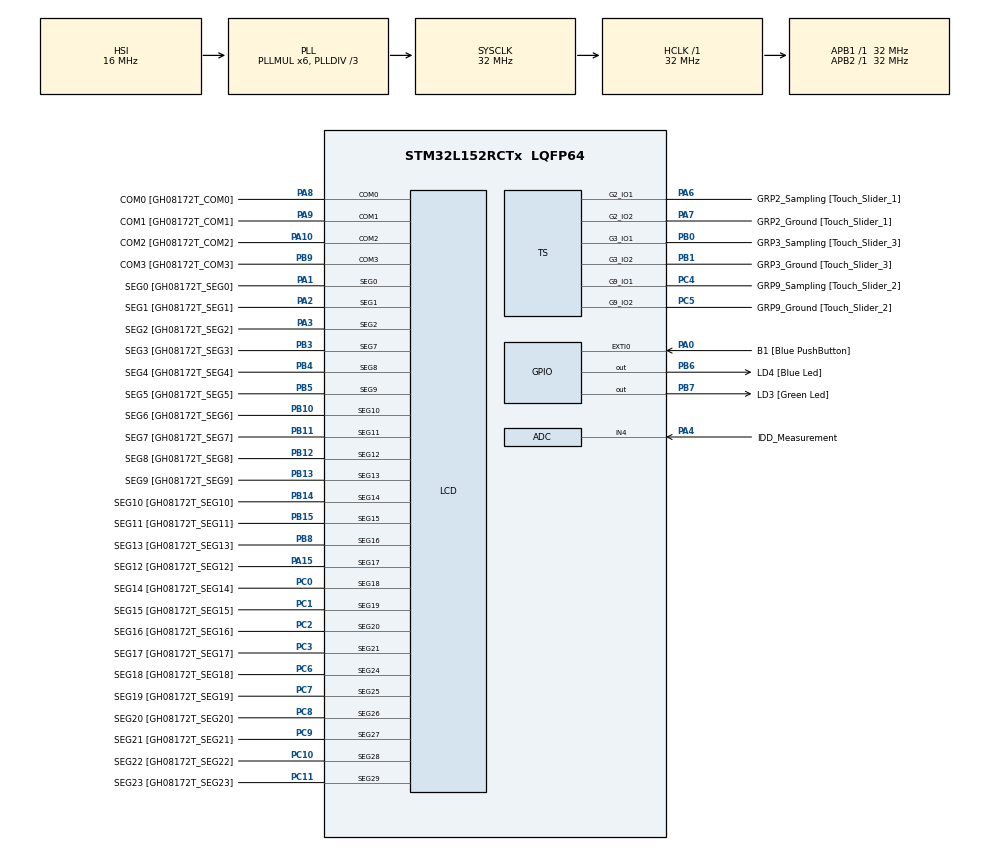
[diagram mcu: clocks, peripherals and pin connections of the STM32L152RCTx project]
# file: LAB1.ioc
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ADC.Channel=ADC_CHANNEL_4
ADC.Channel-0\#ChannelRegularConversion=ADC_CHANNEL_4
ADC.Channel-IN4=ADC_CHANNEL_4
ADC.ExternalTrigConv=ADC_EXTERNALTRIGCONV_T2_CC3
ADC.ExternalTrigConv-0\#ChannelRegularConversion=ADC_SOFTWARE_START
ADC.ExternalTrigConvEdge=ADC_EXTERNALTRIGCONVEDGE_RISING
ADC.Rank-0\#ChannelRegularConversion=1
ADC.SamplingTime-0\#ChannelRegularConversion=ADC_SAMPLETIME_4CYCLES
Mcu.Family=STM32L1
Mcu.Name=STM32L152RCTx
Mcu.Package=LQFP64
NVIC.PriorityGroup=NVIC_PRIORITYGROUP_0
PA0-WKUP1.GPIO_Label=B1 [Blue PushButton]
PA0-WKUP1.GPIO_ModeDefaultEXTI=GPIO_MODE_EVT_RISING
PA0-WKUP1.GPIO_PuPd=GPIO_NOPULL
PA0-WKUP1.Signal=GPXTI0
PA1.GPIO_Label=SEG0 [GH08172T_SEG0]
PA1.GPIO_Mode=GPIO_MODE_AF_PP
PA1.GPIO_PuPd=GPIO_NOPULL
PA1.GPIO_Speed=GPIO_SPEED_FREQ_LOW
PA1.Mode=SEG0
PA1.Signal=LCD_SEG0
PA10.GPIO_Label=COM2 [GH08172T_COM2]
PA10.GPIO_Mode=GPIO_MODE_AF_PP
PA10.GPIO_PuPd=GPIO_NOPULL
PA10.GPIO_Speed=GPIO_SPEED_FREQ_LOW
PA10.Mode=1/4 Duty Cycle
PA10.Signal=LCD_COM2
PA13.GPIO_Label=SWDIO
PA13.Mode=Serial_Wire
PA13.Signal=SYS_JTMS-SWDIO
PA14.GPIO_Label=SWCLK
PA14.Mode=Serial_Wire
PA14.Signal=SYS_JTCK-SWCLK
PA15.GPIO_Label=SEG12 [GH08172T_SEG12]
PA15.GPIO_Mode=GPIO_MODE_AF_PP
PA15.GPIO_PuPd=GPIO_NOPULL
PA15.GPIO_Speed=GPIO_SPEED_FREQ_LOW
PA15.Mode=SEG17
PA15.Signal=LCD_SEG17
PA2.GPIO_Label=SEG1 [GH08172T_SEG1]
PA2.GPIO_Mode=GPIO_MODE_AF_PP
PA2.GPIO_PuPd=GPIO_NOPULL
PA2.GPIO_Speed=GPIO_SPEED_FREQ_LOW
PA2.Mode=SEG1
PA2.Signal=LCD_SEG1
PA3.GPIO_Label=SEG2 [GH08172T_SEG2]
PA3.GPIO_Mode=GPIO_MODE_AF_PP
PA3.GPIO_PuPd=GPIO_NOPULL
PA3.GPIO_Speed=GPIO_SPEED_FREQ_LOW
PA3.Mode=SEG2
PA3.Signal=LCD_SEG2
PA4.GPIO_Label=IDD_Measurement
PA4.GPIO_Mode=GPIO_MODE_ANALOG
PA4.GPIO_PuPd=GPIO_NOPULL
PA4.Mode=IN4
PA4.Signal=ADC_IN4
PA6.GPIO_Label=GRP2_Sampling [Touch_Slider_1]
PA6.Mode=G2_IO1-Sampling
PA6.Signal=TS_G2_IO1
PA7.GPIO_Label=GRP2_Ground [Touch_Slider_1]
PA7.Mode=G2_IO2-Channel
PA7.Signal=TS_G2_IO2
PA8.GPIO_Label=COM0 [GH08172T_COM0]
PA8.GPIO_Mode=GPIO_MODE_AF_PP
PA8.GPIO_PuPd=GPIO_NOPULL
PA8.GPIO_Speed=GPIO_SPEED_FREQ_LOW
PA8.Mode=1/4 Duty Cycle
PA8.Signal=LCD_COM0
PA9.GPIO_Label=COM1 [GH08172T_COM1]
PA9.GPIO_Mode=GPIO_MODE_AF_PP
PA9.GPIO_PuPd=GPIO_NOPULL
PA9.GPIO_Speed=GPIO_SPEED_FREQ_LOW
PA9.Mode=1/4 Duty Cycle
PA9.Signal=LCD_COM1
PB0.GPIO_Label=GRP3_Sampling [Touch_Slider_3]
PB0.Mode=G3_IO1-Sampling
PB0.Signal=TS_G3_IO1
PB1.GPIO_Label=GRP3_Ground [Touch_Slider_3]
PB1.Mode=G3_IO2-Channel
PB1.Signal=TS_G3_IO2
PB10.GPIO_Label=SEG6 [GH08172T_SEG6]
PB10.GPIO_Mode=GPIO_MODE_AF_PP
PB10.GPIO_PuPd=GPIO_NOPULL
PB10.GPIO_Speed=GPIO_SPEED_FREQ_LOW
PB10.Mode=SEG10
PB10.Signal=LCD_SEG10
PB11.GPIO_Label=SEG7 [GH08172T_SEG7]
PB11.GPIO_Mode=GPIO_MODE_AF_PP
PB11.GPIO_PuPd=GPIO_NOPULL
PB11.GPIO_Speed=GPIO_SPEED_FREQ_LOW
PB11.Mode=SEG11
PB11.Signal=LCD_SEG11
PB12.GPIO_Label=SEG8 [GH08172T_SEG8]
PB12.GPIO_Mode=GPIO_MODE_AF_PP
PB12.GPIO_PuPd=GPIO_NOPULL
PB12.GPIO_Speed=GPIO_SPEED_FREQ_LOW
PB12.Mode=SEG12
PB12.Signal=LCD_SEG12
PB13.GPIO_Label=SEG9 [GH08172T_SEG9]
PB13.GPIO_Mode=GPIO_MODE_AF_PP
PB13.GPIO_PuPd=GPIO_NOPULL
PB13.GPIO_Speed=GPIO_SPEED_FREQ_LOW
PB13.Mode=SEG13
PB13.Signal=LCD_SEG13
PB14.GPIO_Label=SEG10 [GH08172T_SEG10]
PB14.GPIO_Mode=GPIO_MODE_AF_PP
PB14.GPIO_PuPd=GPIO_NOPULL
PB14.GPIO_Speed=GPIO_SPEED_FREQ_LOW
PB14.Mode=SEG14
PB14.Signal=LCD_SEG14
PB15.GPIO_Label=SEG11 [GH08172T_SEG11]
PB15.GPIO_Mode=GPIO_MODE_AF_PP
PB15.GPIO_PuPd=GPIO_NOPULL
PB15.GPIO_Speed=GPIO_SPEED_FREQ_LOW
PB15.Mode=SEG15
PB15.Signal=LCD_SEG15
PB3.GPIO_Label=SEG3 [GH08172T_SEG3]
PB3.GPIO_Mode=GPIO_MODE_AF_PP
PB3.GPIO_PuPd=GPIO_NOPULL
PB3.GPIO_Speed=GPIO_SPEED_FREQ_LOW
PB3.Mode=SEG7
PB3.Signal=LCD_SEG7
PB4.GPIO_Label=SEG4 [GH08172T_SEG4]
PB4.GPIO_Mode=GPIO_MODE_AF_PP
PB4.GPIO_PuPd=GPIO_NOPULL
PB4.GPIO_Speed=GPIO_SPEED_FREQ_LOW
PB4.Mode=SEG8
PB4.Signal=LCD_SEG8
PB5.GPIO_Label=SEG5 [GH08172T_SEG5]
PB5.GPIO_Mode=GPIO_MODE_AF_PP
PB5.GPIO_PuPd=GPIO_NOPULL
PB5.GPIO_Speed=GPIO_SPEED_FREQ_LOW
PB5.Mode=SEG9
PB5.Signal=LCD_SEG9
PB6.GPIO_Label=LD4 [Blue Led]
PB6.GPIO_ModeDefaultOutputPP=GPIO_MODE_OUTPUT_PP
PB6.GPIO_PuPd=GPIO_NOPULL
PB6.GPIO_Speed=GPIO_SPEED_FREQ_LOW
PB6.Signal=GPIO_Output
PB7.GPIO_Label=LD3 [Green Led]
PB7.GPIO_ModeDefaultOutputPP=GPIO_MODE_OUTPUT_PP
PB7.GPIO_PuPd=GPIO_NOPULL
PB7.GPIO_Speed=GPIO_SPEED_FREQ_LOW
PB7.Signal=GPIO_Output
PB8.GPIO_Label=SEG13 [GH08172T_SEG13]
PB8.GPIO_Mode=GPIO_MODE_AF_PP
PB8.GPIO_PuPd=GPIO_NOPULL
PB8.GPIO_Speed=GPIO_SPEED_FREQ_LOW
PB8.Mode=SEG16
PB8.Signal=LCD_SEG16
PB9.GPIO_Label=COM3 [GH08172T_COM3]
PB9.GPIO_Mode=GPIO_MODE_AF_PP
PB9.GPIO_PuPd=GPIO_NOPULL
PB9.GPIO_Speed=GPIO_SPEED_FREQ_LOW
PB9.Mode=1/4 Duty Cycle
PB9.Signal=LCD_COM3
PC0.GPIO_Label=SEG14 [GH08172T_SEG14]
PC0.GPIO_Mode=GPIO_MODE_AF_PP
PC0.GPIO_PuPd=GPIO_NOPULL
PC0.GPIO_Speed=GPIO_SPEED_FREQ_LOW
PC0.Mode=SEG18
PC0.Signal=LCD_SEG18
PC1.GPIO_Label=SEG15 [GH08172T_SEG15]
PC1.GPIO_Mode=GPIO_MODE_AF_PP
PC1.GPIO_PuPd=GPIO_NOPULL
PC1.GPIO_Speed=GPIO_SPEED_FREQ_LOW
PC1.Mode=SEG19
PC1.Signal=LCD_SEG19
PC10.GPIO_Label=SEG22 [GH08172T_SEG22]
PC10.GPIO_Mode=GPIO_MODE_AF_PP
PC10.GPIO_PuPd=GPIO_NOPULL
PC10.GPIO_Speed=GPIO_SPEED_FREQ_LOW
PC10.Mode=SEG28
PC10.Signal=LCD_SEG28
PC11.GPIO_Label=SEG23 [GH08172T_SEG23]
PC11.GPIO_Mode=GPIO_MODE_AF_PP
PC11.GPIO_PuPd=GPIO_NOPULL
PC11.GPIO_Speed=GPIO_SPEED_FREQ_LOW
PC11.Mode=SEG29
PC11.Signal=LCD_SEG29
PC14-OSC32_IN.GPIO_Label=PC14-OSC32_IN
PC14-OSC32_IN.Mode=LSE-External-Oscillator
PC14-OSC32_IN.Signal=RCC_OSC32_IN
PC15-OSC32_OUT.GPIO_Label=PC15-OSC32_OUT
PC15-OSC32_OUT.Mode=LSE-External-Oscillator
PC15-OSC32_OUT.Signal=RCC_OSC32_OUT
PC2.GPIO_Label=SEG16 [GH08172T_SEG16]
PC2.GPIO_Mode=GPIO_MODE_AF_PP
PC2.GPIO_PuPd=GPIO_NOPULL
PC2.GPIO_Speed=GPIO_SPEED_FREQ_LOW
PC2.Mode=SEG20
PC2.Signal=LCD_SEG20
PC3.GPIO_Label=SEG17 [GH08172T_SEG17]
PC3.GPIO_Mode=GPIO_MODE_AF_PP
PC3.GPIO_PuPd=GPIO_NOPULL
PC3.GPIO_Speed=GPIO_SPEED_FREQ_LOW
PC3.Mode=SEG21
PC3.Signal=LCD_SEG21
PC4.GPIO_Label=GRP9_Sampling [Touch_Slider_2]
PC4.Mode=G9_IO1-Sampling
PC4.Signal=TS_G9_IO1
PC5.GPIO_Label=GRP9_Ground [Touch_Slider_2]
PC5.Mode=G9_IO2-Channel
PC5.Signal=TS_G9_IO2
PC6.GPIO_Label=SEG18 [GH08172T_SEG18]
PC6.GPIO_Mode=GPIO_MODE_AF_PP
PC6.GPIO_PuPd=GPIO_NOPULL
PC6.GPIO_Speed=GPIO_SPEED_FREQ_LOW
PC6.Mode=SEG24
PC6.Signal=LCD_SEG24
PC7.GPIO_Label=SEG19 [GH08172T_SEG19]
PC7.GPIO_Mode=GPIO_MODE_AF_PP
PC7.GPIO_PuPd=GPIO_NOPULL
PC7.GPIO_Speed=GPIO_SPEED_FREQ_LOW
PC7.Mode=SEG25
PC7.Signal=LCD_SEG25
PC8.GPIO_Label=SEG20 [GH08172T_SEG20]
PC8.GPIO_Mode=GPIO_MODE_AF_PP
PC8.GPIO_PuPd=GPIO_NOPULL
PC8.GPIO_Speed=GPIO_SPEED_FREQ_LOW
PC8.Mode=SEG26
PC8.Signal=LCD_SEG26
PC9.GPIO_Label=SEG21 [GH08172T_SEG21]
PC9.GPIO_Mode=GPIO_MODE_AF_PP
PC9.GPIO_PuPd=GPIO_NOPULL
PC9.GPIO_Speed=GPIO_SPEED_FREQ_LOW
PC9.Mode=SEG27
PC9.Signal=LCD_SEG27
ProjectManager.HeapSize=0x200
ProjectManager.StackSize=0x400
ProjectManager.TargetToolchain=STM32CubeIDE
RCC.48MHZClocksFreq_Value=48000000
RCC.AHBFreq_Value=32000000
RCC.APB1Freq_Value=32000000
RCC.APB1TimFreq_Value=32000000
RCC.APB2Freq_Value=32000000
RCC.APB2TimFreq_Value=32000000
RCC.HCLKFreq_Value=32000000
RCC.HSE_VALUE=8000000
RCC.HSI_VALUE=16000000
RCC.MSI_VALUE=2097000
RCC.PLLDIV=RCC_PLL_DIV3
RCC.PLLMUL=RCC_PLL_MUL6
RCC.RTCClockSelectionVirtual=RCC_RTCCLKSOURCE_LSE
RCC.SYSCLKFreq_VALUE=32000000
RCC.SYSCLKSource=RCC_SYSCLKSOURCE_PLLCLK
RCC.USBOutput=48000000
RCC.VCOOutputFreq_Value=96000000
VP_TIM4_VS_ClockSourceINT.Mode=Internal
board=STM32L152C-DISCO

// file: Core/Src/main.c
/* USER CODE BEGIN Header */
/**
  ******************************************************************************
  * @file           : main.c
  * @brief          : Main program body
  ******************************************************************************
  * @attention
  *
  * Copyright (c) 2024 STMicroelectronics.
  * All rights reserved.
  *
  * This software is licensed under terms that can be found in the LICENSE file
  * in the root directory of this software component.
  * If no LICENSE file comes with this software, it is provided AS-IS.
  *
  ******************************************************************************
  */
/* USER CODE END Header */
#include "main.h"

/* USER CODE BEGIN Includes */
#include "Utiles_SDM.h"
/* USER CODE END Includes */

ADC_HandleTypeDef hadc;

LCD_HandleTypeDef hlcd;

TIM_HandleTypeDef htim4;

/* USER CODE BEGIN PV */
unsigned short estado = 0;
unsigned short buzzer = 1; //podemos usar la libreria uint8_t??

/* USER CODE END PV */

void SystemClock_Config(void);
static void MX_GPIO_Init(void);
static void MX_ADC_Init(void);
static void MX_LCD_Init(void);
static void MX_TS_Init(void);
static void MX_TIM4_Init(void);
/* USER CODE BEGIN PFP */
void stop(void);
void forward(void);
void backwards(void);
void left(void);
void right(void);
void espera(int);
/* USER CODE END PFP */

/* USER CODE BEGIN 0 */

void EXTI1_IRQHandler(void) {
    // Check if EXTI line 0's pending bit is set (an event has happened)
	if (EXTI->PR != 0) {

    	// FALLING EVENT:
        // Check the current state of the pin to determine the type of event
    	//If there is currently a 0, a falling event has happened
		if ((GPIOC->IDR & (1 << 1)) == 0) {

    		// The pin is low, indicating a falling edge event
    		// Insert logic to handle a falling edge event
    		// Now, check the state of PC2
			if ((GPIOC->IDR & (1 << 2)) == 0) {

				estado = 1; //estado is use to call to the movememtn functions in the main
			} else {
				estado =3;
			}
		} else {
			// The pin is high, indicating a rising edge event
			// check the state of PC2
			if ((GPIOC->IDR & (1 << 2)) == 0) {
				estado = 2;
			} else {
				estado = 0;
			}
		}

        EXTI->PR = 0x02; //  clear the EXTI1 flag
    }
}

void EXTI2_IRQHandler(void) {
	// Check PC2 to see if we are in a falling or rising event
	if (EXTI->PR != 0) {

		// Check the current state of the pin to determine the type of event
		if ((GPIOC->IDR & (1 << 2)) == 0) {
			// FALLING edge event
			// Now, check the state of PC1
			if ((GPIOC->IDR & (1 << 1)) == 0) {
				estado = 1;

			} else {
				estado = 2;
			}
		} else {
			// RISING  edge event
			// Again, check the state of PC1
			if ((GPIOC->IDR & (1 << 1)) == 0) { //pin is 0
				estado = 3;
			} else {
				estado = 0;
			}
		}

		EXTI->PR = 0x04; //  clear the EXTI2 flag
	}
}

// Handler function for the TOC
void TIM4_IRQHandler(void) {
	if ((TIM4->SR & 0x0002)!=0) // If the comparison is successful, then the IRQ is launched
	// and this ISR is executed. This line check which event
	// launched the ISR
	{/*
		if(buzzer!=0){
			buzzer=0;
		}else{
			buzzer=1;
		}*/
		TIM4->CCR1 += 500; // Update the comparison value, adding 1000 steps = 1 second
		TIM4->SR = 0x0000; // Clear all flags

		//BUZZER
		if ((estado == 2) || (estado == 3)) {
			//ZUMBADOR INTERMITENTE *****
			if(buzzer==1) {
				//BUZZER ON
				GPIOB->BSRR=(1<<8)<<16; //set
				buzzer=0;
			}else{
				//PB8(buzzer) OFF
				GPIOB->BSRR=(1<<8); //reset
				buzzer=1;
			}

		}else if(estado ==0){
			//BUZZER ON
			GPIOB->BSRR=(1<<8)<<16; //encender buzzer, se enciende con un 0

		}else{
			//PA1(buzzer) OFF
			GPIOB->BSRR=(1<<8); //reset//buzzer off
		}

	}
}

/* USER CODE END 0 */

int main(void)
{

  /* MCU Configuration--------------------------------------------------------*/

  /* Reset of all peripherals, Initializes the Flash interface and the Systick. */
  HAL_Init();

  /* Configure the system clock */
  SystemClock_Config();

  /* Initialize all configured peripherals */
  MX_GPIO_Init();
  MX_ADC_Init();
  MX_LCD_Init();
  MX_TS_Init();
  MX_TIM4_Init();
  /* USER CODE BEGIN 2 */

  //GPIOA->MODER &= ~(0X0000FFFF); //FORCE ALL BITS TO BE 0
  GPIOC->MODER &= ~(1 << 13);
  GPIOC->MODER &= ~(1 << 15);
  GPIOC->MODER |= ((1<<12) | (1<<14)); //CHANGE BITS 22 AND 24 (A11,A12) TO 1, TO BE OUTPUT MODE)

   //GPIOB->MODER &= ~(0X0000FFFF); //FORCE ALL BITS TO BE 0
  GPIOC->MODER &= ~(1 << 17);
  GPIOC->MODER &= ~(1 << 19);
  GPIOC->MODER |= ((1<<16) | (1<<18)); //CHANGE BITS 12 AND 14 (B6,B7) TO 1, TO BE OUTPUT MODE)

  // Pins IR Sensors
  GPIOC->MODER &= ~(1 << 2); //1*2
  GPIOC->MODER &= ~(1 << 3); //1*2 +1
  GPIOC->MODER &= ~(1 << 4);// 2*2
  GPIOC->MODER &= ~(1 << 5); //2*2 +1
  /* otra forma de programar los IR
  //opcion prueba
  GPIOC->MODER &= ~(3 << (1 * 2)); // Clear both bits for pin 1
  GPIOC->MODER &= ~(3 << (2 * 2)); // Clear both bits for pin 2
*/
  // Pins buzzer
  GPIOB->MODER &= ~(1<<17); // Clear current mode. Another option:  GPIOB->MODER &= ~(1 << (8 * 2 +1));
  GPIOB->MODER |= (1<<16);  // Set mode to output for PB8. Another option: GPIOB->MODER |= (1 << (8 * 2));
  GPIOB->BSRR = (1<<8); //inicialmente apagado

  EXTI->FTSR |= 0x06; // Enables falling edge trigger for EXTI1 and EXTI2
  EXTI->RTSR |= 0x06; // Enables rising edge trigger for EXTI1 and EXTI2

  SYSCFG->EXTICR[0] &= ~((0xF << 4) | (0xF << 8)); // Clear the previous settings for EXTI1 and EXTI2
  SYSCFG->EXTICR[0] |= ((0x2 << 4) | (0x2 << 8)); // Set EXTI1 and EXTI2 to be connected to GPIOC

  //SYSCFG->EXTICR[0] = 0x02;

  EXTI->IMR |= 0x06; // Enables EXTI1 and EXTI2 interrupts
  NVIC->ISER[0] |= (1<<7);
  NVIC->ISER[0] |= (1 << 8);// Enables NVIC IRQ for EXTI1 and EXTI2

  //TOC
  // Select the internal clock: CR1, CR2, SMRC
  TIM4->CR1 = 0x0000; // ARPE = 0 -> No PWM, it is TOC
  // CEN = 0; Counter OFF
  TIM4->CR2 = 0x0000; // Always "0" in this course
  TIM4->SMCR = 0x0000; // Always "0" in this course
  // Counter behaviour setting: PSC, CNT, ARR and CCRx
  TIM4->PSC = 31999; // Pre-scaler=32000 -> F_counter=32000000/32000 = 1000 steps/second
  TIM4->CNT = 0; // Initialize the counter to 0
  TIM4->ARR = 0xFFFF; // Recommended value = FFFF
  TIM4->CCR1 = 500; // Record that stores the value for the comparison.
  // It is initialized to the first value = 1000 steps = 1 second
  // Selecting IRQ or not: DIER
  TIM4->DIER = 0x0002; // An IRQ is generated as the comparison is successful -> CCyIE = 1
  // Output mode
  TIM4->CCMR1 = 0x0000; // CCyS = 0 (TOC)
  // OCyM = 000 (no external output)
  // OCyPE = 0 (no preload)
  TIM4->CCER = 0x0000; // CCyP = 0 (always in TOC)
  // CCyE = 0 (external output disabled)
  // Counter enabling
  TIM4->EGR |= 0x0001; // UG = 1 -> Generate an update event to update all registers
  TIM4->SR = 0; // Clear counter flags
  // Enabling TIM4_IRQ at NVIC (position 30).
  TIM4->CR1 |= 0x0001; //¿lo hace isa?
  NVIC->ISER[0] |= (1 << 30);

  /* USER CODE END 2 */

  /* Infinite loop */
  /* USER CODE BEGIN WHILE */
  while (1)
  {

	  if (estado == 0) {
	      stop();

	  } else if (estado == 1) {
	      forward();
	  } else if (estado == 2) {
		  left();
	  } else {
	      right();
	  }

    /* USER CODE END WHILE */

  }
}

void SystemClock_Config(void)
{
  RCC_OscInitTypeDef RCC_OscInitStruct = {0};
  RCC_ClkInitTypeDef RCC_ClkInitStruct = {0};
  RCC_PeriphCLKInitTypeDef PeriphClkInit = {0};

  /** Configure the main internal regulator output voltage
  */
  __HAL_PWR_VOLTAGESCALING_CONFIG(PWR_REGULATOR_VOLTAGE_SCALE1);

  /** Initializes the RCC Oscillators according to the specified parameters
  * in the RCC_OscInitTypeDef structure.
  */
  RCC_OscInitStruct.OscillatorType = RCC_OSCILLATORTYPE_HSI|RCC_OSCILLATORTYPE_LSE;
  RCC_OscInitStruct.LSEState = RCC_LSE_ON;
  RCC_OscInitStruct.HSIState = RCC_HSI_ON;
  RCC_OscInitStruct.HSICalibrationValue = RCC_HSICALIBRATION_DEFAULT;
  RCC_OscInitStruct.PLL.PLLState = RCC_PLL_ON;
  RCC_OscInitStruct.PLL.PLLSource = RCC_PLLSOURCE_HSI;
  RCC_OscInitStruct.PLL.PLLMUL = RCC_PLL_MUL6;
  RCC_OscInitStruct.PLL.PLLDIV = RCC_PLL_DIV3;
  if (HAL_RCC_OscConfig(&RCC_OscInitStruct) != HAL_OK)
  {
    Error_Handler();
  }

  /** Initializes the CPU, AHB and APB buses clocks
  */
  RCC_ClkInitStruct.ClockType = RCC_CLOCKTYPE_HCLK|RCC_CLOCKTYPE_SYSCLK
                              |RCC_CLOCKTYPE_PCLK1|RCC_CLOCKTYPE_PCLK2;
  RCC_ClkInitStruct.SYSCLKSource = RCC_SYSCLKSOURCE_PLLCLK;
  RCC_ClkInitStruct.AHBCLKDivider = RCC_SYSCLK_DIV1;
  RCC_ClkInitStruct.APB1CLKDivider = RCC_HCLK_DIV1;
  RCC_ClkInitStruct.APB2CLKDivider = RCC_HCLK_DIV1;

  if (HAL_RCC_ClockConfig(&RCC_ClkInitStruct, FLASH_LATENCY_1) != HAL_OK)
  {
    Error_Handler();
  }
  PeriphClkInit.PeriphClockSelection = RCC_PERIPHCLK_RTC|RCC_PERIPHCLK_LCD;
  PeriphClkInit.RTCClockSelection = RCC_RTCCLKSOURCE_LSE;
  PeriphClkInit.LCDClockSelection = RCC_RTCCLKSOURCE_LSE;

  if (HAL_RCCEx_PeriphCLKConfig(&PeriphClkInit) != HAL_OK)
  {
    Error_Handler();
  }
}

static void MX_ADC_Init(void)
{

  ADC_ChannelConfTypeDef sConfig = {0};

  /** Configure the global features of the ADC (Clock, Resolution, Data Alignment and number of conversion)
  */
  hadc.Instance = ADC1;
  hadc.Init.ClockPrescaler = ADC_CLOCK_ASYNC_DIV1;
  hadc.Init.Resolution = ADC_RESOLUTION_12B;
  hadc.Init.DataAlign = ADC_DATAALIGN_RIGHT;
  hadc.Init.ScanConvMode = ADC_SCAN_DISABLE;
  hadc.Init.EOCSelection = ADC_EOC_SEQ_CONV;
  hadc.Init.LowPowerAutoWait = ADC_AUTOWAIT_DISABLE;
  hadc.Init.LowPowerAutoPowerOff = ADC_AUTOPOWEROFF_DISABLE;
  hadc.Init.ChannelsBank = ADC_CHANNELS_BANK_A;
  hadc.Init.ContinuousConvMode = DISABLE;
  hadc.Init.NbrOfConversion = 1;
  hadc.Init.DiscontinuousConvMode = DISABLE;
  hadc.Init.ExternalTrigConv = ADC_EXTERNALTRIGCONV_T2_CC3;
  hadc.Init.ExternalTrigConvEdge = ADC_EXTERNALTRIGCONVEDGE_RISING;
  hadc.Init.DMAContinuousRequests = DISABLE;
  if (HAL_ADC_Init(&hadc) != HAL_OK)
  {
    Error_Handler();
  }

  /** Configure for the selected ADC regular channel its corresponding rank in the sequencer and its sample time.
  */
  sConfig.Channel = ADC_CHANNEL_4;
  sConfig.Rank = ADC_REGULAR_RANK_1;
  sConfig.SamplingTime = ADC_SAMPLETIME_4CYCLES;
  if (HAL_ADC_ConfigChannel(&hadc, &sConfig) != HAL_OK)
  {
    Error_Handler();
  }

}

static void MX_LCD_Init(void)
{

  hlcd.Instance = LCD;
  hlcd.Init.Prescaler = LCD_PRESCALER_1;
  hlcd.Init.Divider = LCD_DIVIDER_16;
  hlcd.Init.Duty = LCD_DUTY_1_4;
  hlcd.Init.Bias = LCD_BIAS_1_4;
  hlcd.Init.VoltageSource = LCD_VOLTAGESOURCE_INTERNAL;
  hlcd.Init.Contrast = LCD_CONTRASTLEVEL_0;
  hlcd.Init.DeadTime = LCD_DEADTIME_0;
  hlcd.Init.PulseOnDuration = LCD_PULSEONDURATION_0;
  hlcd.Init.MuxSegment = LCD_MUXSEGMENT_DISABLE;
  hlcd.Init.BlinkMode = LCD_BLINKMODE_OFF;
  hlcd.Init.BlinkFrequency = LCD_BLINKFREQUENCY_DIV8;
  if (HAL_LCD_Init(&hlcd) != HAL_OK)
  {
    Error_Handler();
  }

}

static void MX_TIM4_Init(void)
{

  TIM_ClockConfigTypeDef sClockSourceConfig = {0};
  TIM_MasterConfigTypeDef sMasterConfig = {0};

  htim4.Instance = TIM4;
  htim4.Init.Prescaler = 0;
  htim4.Init.CounterMode = TIM_COUNTERMODE_UP;
  htim4.Init.Period = 65535;
  htim4.Init.ClockDivision = TIM_CLOCKDIVISION_DIV1;
  htim4.Init.AutoReloadPreload = TIM_AUTORELOAD_PRELOAD_DISABLE;
  if (HAL_TIM_Base_Init(&htim4) != HAL_OK)
  {
    Error_Handler();
  }
  sClockSourceConfig.ClockSource = TIM_CLOCKSOURCE_INTERNAL;
  if (HAL_TIM_ConfigClockSource(&htim4, &sClockSourceConfig) != HAL_OK)
  {
    Error_Handler();
  }
  sMasterConfig.MasterOutputTrigger = TIM_TRGO_RESET;
  sMasterConfig.MasterSlaveMode = TIM_MASTERSLAVEMODE_DISABLE;
  if (HAL_TIMEx_MasterConfigSynchronization(&htim4, &sMasterConfig) != HAL_OK)
  {
    Error_Handler();
  }

}

static void MX_TS_Init(void)
{

}

static void MX_GPIO_Init(void)
{
  GPIO_InitTypeDef GPIO_InitStruct = {0};

  /* GPIO Ports Clock Enable */
  __HAL_RCC_GPIOC_CLK_ENABLE();
  __HAL_RCC_GPIOA_CLK_ENABLE();
  __HAL_RCC_GPIOB_CLK_ENABLE();

  /*Configure GPIO pin Output Level */
  HAL_GPIO_WritePin(GPIOB, LD4_Pin|LD3_Pin, GPIO_PIN_RESET);

  /*Configure GPIO pin : B1_Pin */
  GPIO_InitStruct.Pin = B1_Pin;
  GPIO_InitStruct.Mode = GPIO_MODE_EVT_RISING;
  GPIO_InitStruct.Pull = GPIO_NOPULL;
  HAL_GPIO_Init(B1_GPIO_Port, &GPIO_InitStruct);

  /*Configure GPIO pins : LD4_Pin LD3_Pin */
  GPIO_InitStruct.Pin = LD4_Pin|LD3_Pin;
  GPIO_InitStruct.Mode = GPIO_MODE_OUTPUT_PP;
  GPIO_InitStruct.Pull = GPIO_NOPULL;
  GPIO_InitStruct.Speed = GPIO_SPEED_FREQ_LOW;
  HAL_GPIO_Init(GPIOB, &GPIO_InitStruct);

}

void Error_Handler(void)
{
  __disable_irq();
  while (1)
  {
  }
}
